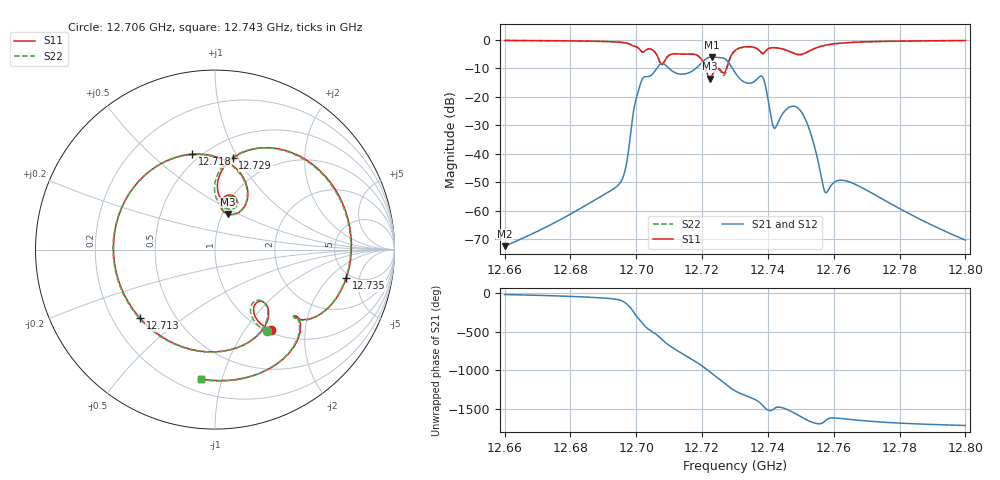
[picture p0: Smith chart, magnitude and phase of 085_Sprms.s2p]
! TOUCHSTONE file generated by CST MICROWAVE STUDIO
! Date and time: Wed Jul 31 15:01:15 2024
! Project name: WaveGuide_BPF-Ver4.1_U-shape_Ku_T3_C4_CWA_2.cst
! Parameters = {cavity_h=16; cavity_l0=10; cavity_l1=15.1821; cavity_l2=16.8494; cavity_l3=17.0866; cavity_l4=17.3051; cavity_l5=17.1638; cavity_l6=17.6294; cavity_r=2.5; cavity_screw_l=0.5; cavity_screw_r=1.5; cavity_w=8; iris_h00=0; iris_h01=8.8251; iris_h112=0; iris_h12=5.5953; iris_h211=3.6622; 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
! Header version: 2018
! Port assignment regex: !\s*Touchstone port\s*([0-9]+)\s*=\s*(CST MWS port|CST DS port)\s*([0-9]+|Zmin|Zmax)\s*\(\"(.*)\"\)(\s*mode\s*([0-9]+))?.*
! Touchstone port assignment:
! Touchstone port 1 = CST MWS port 1 ("")
! Touchstone port 2 = CST MWS port 2 ("")
# GHz S RI R 50
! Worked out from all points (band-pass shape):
!   5001 points, 12.66 GHz to 12.8 GHz, reference 50 ohm
!   highest |S21| = -5.95 dB at 12.723 GHz (marker M1); lowest = -72.4 dB at 12.66 GHz (marker M2)
!   |S21| within 3 dB of the highest: 12.70688 GHz to 12.70903 GHz (2.156 MHz wide, 0.017 % of centre); 12.71908 GHz to 12.72867 GHz (9.587 MHz wide, 0.0753 % of centre)
!   lowest |S11| = -13.6 dB at 12.722 GHz (marker M3), VSWR 1.53, Z = 52.8 + j21.9 ohm
!   |S11| at or under -10 dB: 12.72104 GHz to 12.72455 GHz (3.514 MHz wide, 0.0276 % of centre); 12.72494 GHz to 12.72738 GHz (2.44 MHz wide, 0.0192 % of centre)
!   |S22| runs from -13.5 to -0.2 dB; largest |S21 - S12| = 1e-09
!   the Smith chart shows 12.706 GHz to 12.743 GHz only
!   S11 on the Smith chart (normalised r, x): 12.706 GHz: 1.05, -1.33; 12.713 GHz: 0.32, -0.36; 12.718 GHz: 0.45, +0.68; 12.729 GHz: 0.68, +0.95; 12.735 GHz: 4.53, -3.26; 12.743 GHz: 0.28, -0.86
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12.66  0.2818 0.9412  0.000223 -8.49e-05  0.000223 -8.49e-05  0.2884 0.9391
12.68335  0.6793 0.6809  0.000714 -0.000872  0.000714 -0.000872  0.6869 0.6729
12.69545  0.8926 0.1754  -0.000533 -0.00329  -0.000533 -0.00329  0.8955 0.1612
12.70108  0.6461 -0.2154  0.1543 0.0248  0.1543 0.0248  0.6375 -0.2358
12.70626  0.3123 -0.4466  -0.319 0.0186  -0.319 0.0186  0.2908 -0.4527
12.70668  0.254 -0.4128  -0.3285 0.1064  -0.3285 0.1064  0.233 -0.4149
12.7132  -0.4168 -0.383  0.1738 -0.1832  0.1738 -0.1832  -0.417 -0.3874
12.7183  -0.1275 0.5316  -0.3235 -0.0119  -0.3235 -0.0119  -0.1357 0.5287
12.72233  0.0697 0.1979  0.2678 0.4222  0.2678 0.4222  0.0727 0.1991
12.72297  0.0342 0.232  0.4081 0.2962  0.4081 0.2962  0.0397 0.2315
12.72625  0.095 0.2496  0.1637 -0.4577  0.1637 -0.4577  0.0966 0.2261
12.72871  0.0985 0.5085  -0.3191 -0.1527  -0.3191 -0.1527  0.0774 0.4987
12.73  0.3291 0.565  -0.2662 0.04  -0.2662 0.04  0.3125 0.5652
12.73549  0.7315 -0.1581  0.06 0.1713  0.06 0.1713  0.7275 -0.1629
12.74291  -0.0793 -0.7202  0.0262 -0.0217  0.0262 -0.0217  -0.0802 -0.7228
12.74739  -0.5925 0.089  -0.014 -0.0673  -0.014 -0.0673  -0.5999 0.0731
12.75027  0.0563 0.5576  -0.0527 -0.00877  -0.0527 -0.00877  0.0376 0.5551
12.75335  0.6748 0.0464  -0.0114 0.016  -0.0114 0.016  0.6689 0.0461
12.7573  0.4591 -0.6628  -0.00161 0.00142  -0.00161 0.00142  0.4465 -0.6697
12.76063  0.0683 -0.8605  -0.0033 4.68e-05  -0.0033 4.68e-05  0.0508 -0.8618
12.77668  -0.8499 -0.4259  -0.000716 0.0012  -0.000716 0.0012  -0.8561 -0.4145
12.8  -0.9622 0.1755  3.82e-05 0.000303  3.82e-05 0.000303  -0.9611 0.1829
